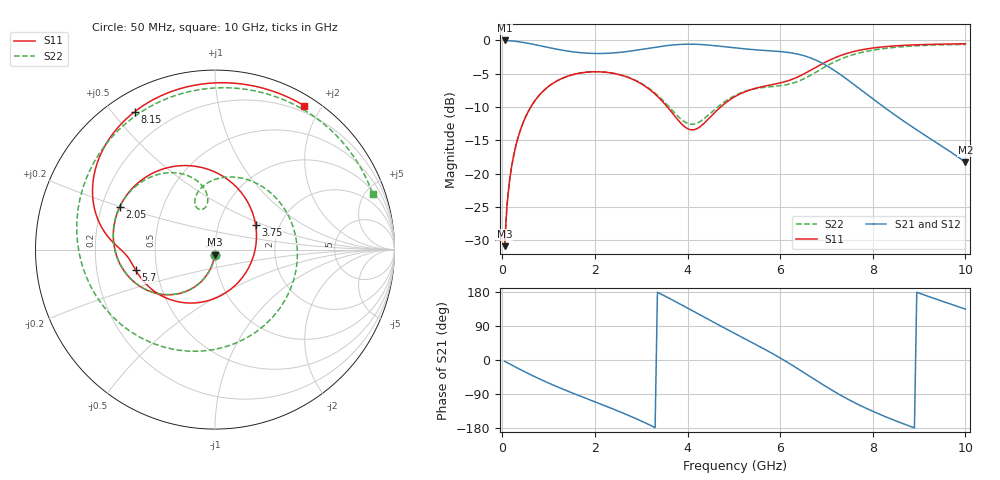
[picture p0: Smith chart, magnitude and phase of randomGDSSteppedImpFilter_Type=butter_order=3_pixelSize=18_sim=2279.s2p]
! freq	dB(S11)	phase(S11)	dB(S12)	phase(S12)
!  dB(S21)	phase(S21)	dB(S22)	phase(S22)
!S-par simulation data
#  GHz  S  DB  R 50
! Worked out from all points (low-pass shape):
!   200 points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, 50 MHz to 10 GHz, reference 50 ohm
!   highest |S21| = -0.01 dB at 50 MHz (marker M1); lowest = -18.3 dB at 10 GHz (marker M2)
!   |S21| within 3 dB of the highest: start of sweep to 6.788 GHz
!   lowest |S11| = -30.9 dB at 50 MHz (marker M3), VSWR 1.06, Z = 49.8 - j2.84 ohm
!   |S11| at or under -10 dB: start of sweep to 614.9 MHz; 3.566 GHz to 4.714 GHz (1.148 GHz wide, 27.7 % of centre)
!   |S22| runs from -30.9 to -0.6 dB; largest |S21 - S12| = 0
!   S11 on the Smith chart (normalised r, x): 50 MHz: 1.00, -0.06; 2.05 GHz: 0.28, +0.20; 3.75 GHz: 1.51, +0.44; 5.7 GHz: 0.38, -0.11; 8.15 GHz: 0.08, +0.57; 10 GHz: 0.12, +1.79
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0.05  -30.87 -93.4  -0.01 -3.3  -0.01 -3.3  -30.87 -93.4
0.1  -24.87 -96.9  -0.03 -6.6  -0.03 -6.6  -24.87 -96.9
0.2  -18.98 -103.5  -0.08 -13.1  -0.08 -13.1  -18.98 -103.6
0.5  -11.52 -122.3  -0.36 -32.0  -0.36 -32.0  -11.53 -122.5
1.05  -6.64 -153.9  -1.14 -63.5  -1.14 -63.5  -6.64 -154.1
1.75  -4.83 170.7  -1.88 -98.5  -1.88 -98.5  -4.82 171.5
2.05  -4.70 155.9  -1.97 -112.7  -1.97 -112.7  -4.70 157.8
2.8  -5.79 115.1  -1.57 -150.1  -1.57 -150.1  -5.74 124.8
3.4  -8.73 70.4  -0.92 175.6  -0.92 175.6  -8.53 102.4
3.75  -11.57 30.8  -0.65 153.4  -0.65 153.4  -11.08 98.3
4.4  -12.15 -75.4  -0.67 110.3  -0.67 110.3  -11.50 113.9
5.05  -8.33 -135.3  -1.15 68.2  -1.15 68.2  -8.18 90.3
5.7  -6.82 -165.5  -1.52 26.1  -1.52 26.1  -7.01 37.7
6.2  -5.98 -177.4  -1.83 -9.3  -1.83 -9.3  -6.55 -21.6
6.7  -4.32 172.4  -2.74 -47.8  -2.74 -47.8  -5.06 -91.3
7  -3.19 163.3  -3.77 -70.9  -3.77 -70.9  -3.85 -130.0
7.4  -2.04 148.5  -5.62 -99.3  -5.62 -99.3  -2.55 -173.5
7.75  -1.42 135.0  -7.44 -121.2  -7.44 -121.2  -1.81 155.4
8.15  -1.02 120.1  -9.54 -143.3  -9.54 -143.3  -1.30 125.4
8.35  -0.89 112.9  -10.55 -153.5  -10.55 -153.5  -1.13 112.1
9.1  -0.62 87.3  -14.11 172.0  -14.11 172.0  -0.75 67.9
10  -0.51 58.3  -18.31 134.4  -18.31 134.4  -0.62 19.4
